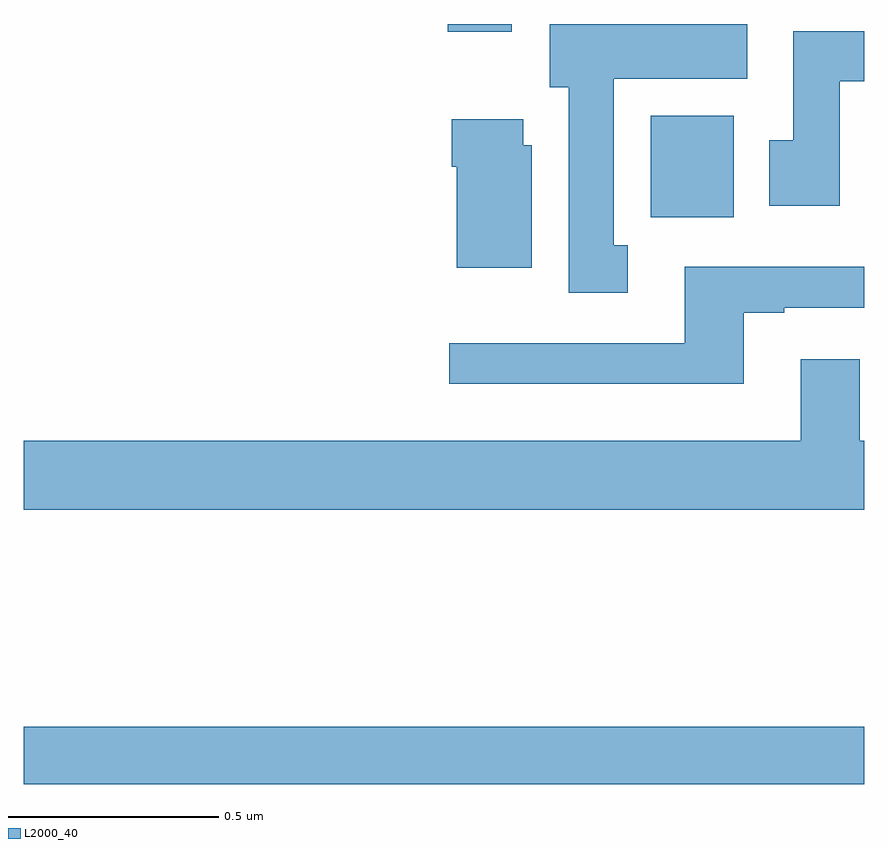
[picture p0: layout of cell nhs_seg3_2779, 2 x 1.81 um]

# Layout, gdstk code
import gdstk
lib = gdstk.Library(unit=1e-6, precision=1e-09)
def R(c, l, rs):  # rectangles x0, y0, x1, y1
    for r in rs: c.add(gdstk.rectangle(r[:2], r[2:], *l))
def P(c, l, *ps):  # polygons
    for p in ps: c.add(gdstk.Polygon(p, *l))
L2000_40 = (2000, 40)

nhs_seg3_2779 = lib.new_cell('nhs_seg3_2779')
R(nhs_seg3_2779, L2000_40, [(145,705.592,147,705.728), (146.492,706.94,146.689,707.182), (146.009,707.382,146.161,707.4)])
P(nhs_seg3_2779, L2000_40, [(146.437,706.874),(146.404,706.874),(146.404,707.27),(146.722,707.27),(146.722,707.4),(146.252,707.4),(146.252,707.25),(146.297,707.25),(146.297,706.761),(146.437,706.761)],
  [(146.941,707.264),(147,707.264),(147,707.383),(146.831,707.383),(146.831,707.124),(146.774,707.124),(146.774,706.968),(146.941,706.968)],
  [(146.209,707.112),(146.188,707.112),(146.188,707.173),(146.018,707.173),(146.018,707.06),(146.03,707.06),(146.03,706.82),(146.209,706.82)],
  [(146.713,706.713),(146.809,706.713),(146.809,706.725),(147,706.725),(147,706.822),(146.573,706.822),(146.573,706.641),(146.013,706.641),(146.013,706.544),(146.713,706.544)],
  [(147,706.408),(146.989,706.408),(146.989,706.603),(146.849,706.603),(146.849,706.408),(145,706.408),(145,706.244),(147,706.244)])

lib.write_gds('nhs_seg3_2779.gds')
